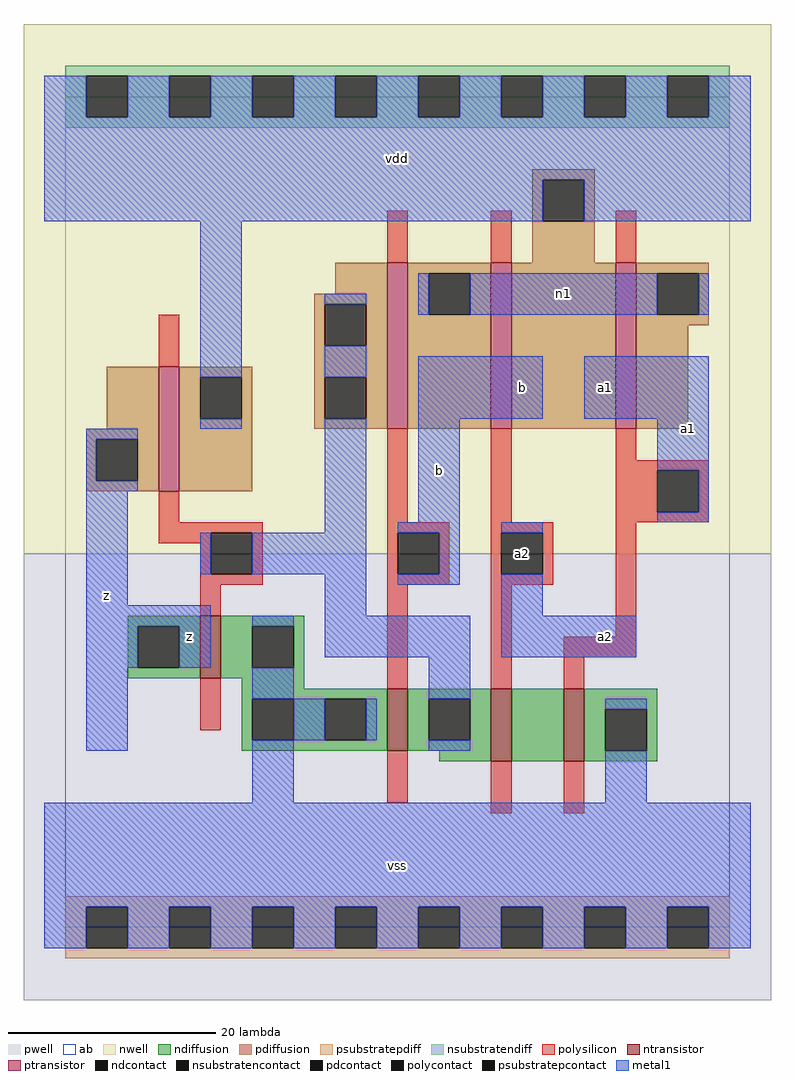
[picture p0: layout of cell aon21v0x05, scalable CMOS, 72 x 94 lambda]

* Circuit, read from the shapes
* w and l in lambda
.subckt aon21v0x05 a1 a2 b n1 vdd vss z
M1 vss n2 z vss nfet w=6 l=2
M2 n2 b vss vss nfet w=6 l=2
M3 n3 a2 n2 vss nfet w=7 l=2
M4 vss a1 n3 vss nfet w=7 l=2
M5 vdd n2 z vdd pfet w=12 l=2
M6 n1 b n2 vdd pfet w=16 l=2
M7 vdd a2 n1 vdd pfet w=16 l=2
M8 n1 a1 vdd vdd pfet w=16 l=2
.ends

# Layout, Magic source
magic
tech scmos
<< ab >>
rect 0 0 64 80
<< pwell >>
rect -4 -7 68 36
<< nwell >>
rect -4 36 68 87
<< polysilicon >>
rect 31 64 33 69
rect 41 64 43 69
rect 53 64 55 69
rect 9 54 11 59
rect 9 39 11 42
rect 31 39 33 48
rect 41 39 43 48
rect 53 45 55 48
rect 53 44 62 45
rect 53 40 57 44
rect 61 40 62 44
rect 53 39 62 40
rect 9 38 19 39
rect 9 37 14 38
rect 13 34 14 37
rect 18 34 19 38
rect 13 33 19 34
rect 31 38 37 39
rect 31 34 32 38
rect 36 34 37 38
rect 31 33 37 34
rect 41 38 47 39
rect 41 34 42 38
rect 46 34 47 38
rect 41 33 47 34
rect 13 30 15 33
rect 13 19 15 24
rect 31 23 33 33
rect 41 23 43 33
rect 53 28 55 39
rect 48 26 55 28
rect 48 23 50 26
rect 31 12 33 17
rect 41 11 43 16
rect 48 11 50 16
<< ndiffusion >>
rect 6 29 13 30
rect 6 25 7 29
rect 11 25 13 29
rect 6 24 13 25
rect 15 29 23 30
rect 15 25 18 29
rect 22 25 23 29
rect 15 24 23 25
rect 17 23 23 24
rect 17 22 31 23
rect 17 18 18 22
rect 22 18 25 22
rect 29 18 31 22
rect 17 17 31 18
rect 33 22 41 23
rect 33 18 35 22
rect 39 18 41 22
rect 33 17 41 18
rect 36 16 41 17
rect 43 16 48 23
rect 50 21 57 23
rect 50 17 52 21
rect 56 17 57 21
rect 50 16 57 17
<< pdiffusion >>
rect 45 72 51 73
rect 45 68 46 72
rect 50 68 51 72
rect 45 64 51 68
rect 26 61 31 64
rect 24 60 31 61
rect 24 56 25 60
rect 29 56 31 60
rect 4 48 9 54
rect 2 47 9 48
rect 2 43 3 47
rect 7 43 9 47
rect 2 42 9 43
rect 11 53 18 54
rect 11 49 13 53
rect 17 49 18 53
rect 11 42 18 49
rect 24 53 31 56
rect 24 49 25 53
rect 29 49 31 53
rect 24 48 31 49
rect 33 63 41 64
rect 33 59 35 63
rect 39 59 41 63
rect 33 48 41 59
rect 43 48 53 64
rect 55 63 62 64
rect 55 59 57 63
rect 61 59 62 63
rect 55 58 62 59
rect 55 48 60 58
<< metal1 >>
rect -2 78 2 82
rect 6 78 10 82
rect 14 78 18 82
rect 22 78 26 82
rect 30 78 34 82
rect 38 78 42 82
rect 46 78 50 82
rect 54 78 58 82
rect 62 78 66 82
rect -2 72 66 78
rect -2 68 46 72
rect 50 68 66 72
rect 13 53 17 68
rect 13 48 17 49
rect 25 60 29 61
rect 34 59 35 63
rect 39 59 57 63
rect 61 59 62 63
rect 25 53 29 56
rect 2 47 7 48
rect 2 43 3 47
rect 2 42 7 43
rect 2 31 6 42
rect 25 38 29 49
rect 34 49 46 55
rect 50 49 62 55
rect 34 39 38 49
rect 57 44 62 49
rect 61 40 62 44
rect 57 39 62 40
rect 13 34 14 38
rect 18 34 29 38
rect 2 29 14 31
rect 25 30 29 34
rect 32 38 38 39
rect 36 34 38 38
rect 32 33 38 34
rect 42 38 46 39
rect 42 30 46 34
rect 2 25 7 29
rect 11 25 14 29
rect 18 29 22 30
rect 25 26 39 30
rect 42 26 55 30
rect 2 17 6 25
rect 18 22 22 25
rect 35 22 39 26
rect 22 18 25 22
rect 29 18 30 22
rect 18 12 22 18
rect 35 17 39 18
rect 52 21 56 22
rect 52 12 56 17
rect -2 2 66 12
rect -2 -2 2 2
rect 6 -2 10 2
rect 14 -2 18 2
rect 22 -2 26 2
rect 30 -2 34 2
rect 38 -2 42 2
rect 46 -2 50 2
rect 54 -2 58 2
rect 62 -2 66 2
<< ntransistor >>
rect 13 24 15 30
rect 31 17 33 23
rect 41 16 43 23
rect 48 16 50 23
<< ptransistor >>
rect 9 42 11 54
rect 31 48 33 64
rect 41 48 43 64
rect 53 48 55 64
<< polycontact >>
rect 57 40 61 44
rect 14 34 18 38
rect 32 34 36 38
rect 42 34 46 38
<< ndcontact >>
rect 7 25 11 29
rect 18 25 22 29
rect 18 18 22 22
rect 25 18 29 22
rect 35 18 39 22
rect 52 17 56 21
<< pdcontact >>
rect 46 68 50 72
rect 25 56 29 60
rect 3 43 7 47
rect 13 49 17 53
rect 25 49 29 53
rect 35 59 39 63
rect 57 59 61 63
<< psubstratepcontact >>
rect 2 -2 6 2
rect 10 -2 14 2
rect 18 -2 22 2
rect 26 -2 30 2
rect 34 -2 38 2
rect 42 -2 46 2
rect 50 -2 54 2
rect 58 -2 62 2
<< nsubstratencontact >>
rect 2 78 6 82
rect 10 78 14 82
rect 18 78 22 82
rect 26 78 30 82
rect 34 78 38 82
rect 42 78 46 82
rect 50 78 54 82
rect 58 78 62 82
<< psubstratepdiff >>
rect 0 2 64 3
rect 0 -2 2 2
rect 6 -2 10 2
rect 14 -2 18 2
rect 22 -2 26 2
rect 30 -2 34 2
rect 38 -2 42 2
rect 46 -2 50 2
rect 54 -2 58 2
rect 62 -2 64 2
rect 0 -3 64 -2
<< nsubstratendiff >>
rect 0 82 64 83
rect 0 78 2 82
rect 6 78 10 82
rect 14 78 18 82
rect 22 78 26 82
rect 30 78 34 82
rect 38 78 42 82
rect 46 78 50 82
rect 54 78 58 82
rect 62 78 64 82
rect 0 77 64 78
<< labels >>
rlabel metal1 4 32 4 32 6 z
rlabel metal1 12 28 12 28 6 z
rlabel metal1 32 6 32 6 6 vss
rlabel polycontact 44 36 44 36 6 a2
rlabel metal1 36 44 36 44 6 b
rlabel metal1 44 52 44 52 6 b
rlabel metal1 32 74 32 74 6 vdd
rlabel metal1 52 28 52 28 6 a2
rlabel metal1 52 52 52 52 6 a1
rlabel metal1 60 48 60 48 6 a1
rlabel metal1 48 61 48 61 6 n1
<< end >>
